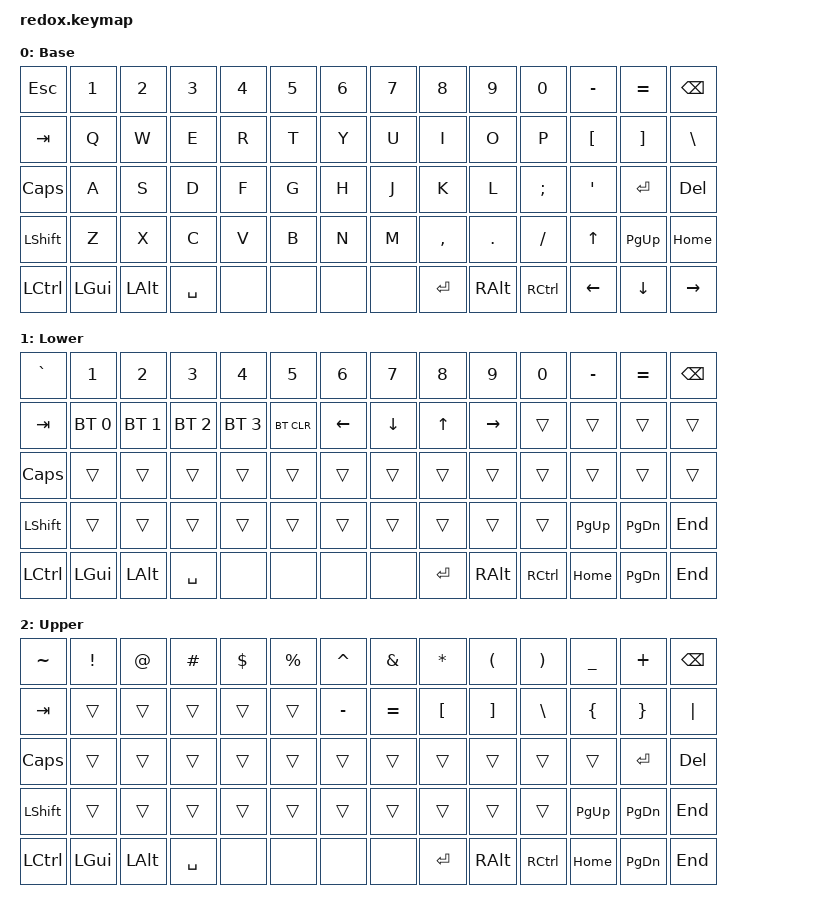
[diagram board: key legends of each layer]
#include <behaviors.dtsi>
#include <dt-bindings/zmk/keys.h>
#include <dt-bindings/zmk/bt.h>

/ {
    keymap {
        compatible = "zmk,keymap";

        Base {
            label = "Base";
            display-name = "Base";
            bindings = <
                /* row 0 */
                &kp ESC   &kp N1    &kp N2    &kp N3    &kp N4    &kp N5    &kp N6    &kp N7    &kp N8    &kp N9    &kp N0    &kp MINUS &kp EQUAL  &kp BSPC
                /* row 1 */
                &kp TAB   &kp Q     &kp W     &kp E     &kp R     &kp T     &kp Y     &kp U     &kp I     &kp O     &kp P     &kp LBKT  &kp RBKT   &kp BSLH
                /* row 2 */
                &kp CAPSLOCK &kp A  &kp S     &kp D     &kp F     &kp G     &kp H     &kp J     &kp K     &kp L     &kp SEMI  &kp SQT   &kp ENTER  &kp DEL
                /* row 3 */
                &kp LSHFT &kp Z     &kp X     &kp C     &kp V     &kp B     &kp N     &kp M     &kp COMMA &kp DOT   &kp FSLH  &kp UP    &kp PG_UP  &kp HOME
                /* row 4 */
                &kp LCTRL &kp LGUI  &kp LALT  &kp SPACE &none     &none     &none     &none     &kp ENTER &kp RALT  &kp RCTRL &kp LEFT  &kp DOWN   &kp RIGHT
            >;
        };

        Lower {
            label = "Lower";
            display-name = "Lower";
            bindings = <
                /* row 0 */
                &kp GRAVE &kp N1    &kp N2    &kp N3    &kp N4    &kp N5    &kp N6    &kp N7    &kp N8    &kp N9    &kp N0    &kp MINUS &kp EQUAL  &kp BSPC
                /* row 1 */
                &kp TAB   &bt BT_SEL 0 &bt BT_SEL 1 &bt BT_SEL 2 &bt BT_SEL 3 &bt BT_CLR &kp LEFT  &kp DOWN  &kp UP    &kp RIGHT &trans    &trans     &trans    &trans
                /* row 2 */
                &kp CAPSLOCK &trans &trans   &trans    &trans    &trans    &trans    &trans    &trans    &trans    &trans    &trans    &trans     &trans
                /* row 3 */
                &kp LSHFT &trans    &trans   &trans    &trans    &trans    &trans    &trans    &trans    &trans    &trans    &kp PG_UP &kp PG_DN  &kp END
                /* row 4 */
                &kp LCTRL &kp LGUI  &kp LALT &kp SPACE &none     &none     &none     &none     &kp ENTER &kp RALT  &kp RCTRL &kp HOME  &kp PG_DN  &kp END
            >;
        };

        Upper {
            label = "Upper";
            display-name = "Upper";
            bindings = <
                /* row 0 */
                &kp TILDE &kp EXCL  &kp AT    &kp HASH  &kp DLLR  &kp PRCNT &kp CARET &kp AMPS  &kp ASTERISK &kp LPAR &kp RPAR  &kp UNDER &kp PLUS   &kp BSPC
                /* row 1 */
                &kp TAB   &trans    &trans    &trans    &trans    &trans    &kp MINUS &kp EQUAL &kp LBKT    &kp RBKT &kp BSLH  &kp LBRC  &kp RBRC   &kp PIPE
                /* row 2 */
                &kp CAPSLOCK &trans &trans    &trans    &trans    &trans    &trans    &trans    &trans      &trans   &trans    &trans    &kp ENTER  &kp DEL
                /* row 3 */
                &kp LSHFT &trans    &trans    &trans    &trans    &trans    &trans    &trans    &trans      &trans   &trans    &kp PG_UP &kp PG_DN &kp END
                /* row 4 */
                &kp LCTRL &kp LGUI  &kp LALT  &kp SPACE &none     &none     &none     &none     &kp ENTER   &kp RALT &kp RCTRL &kp HOME  &kp PG_DN  &kp END
            >;
        };
    };
};
